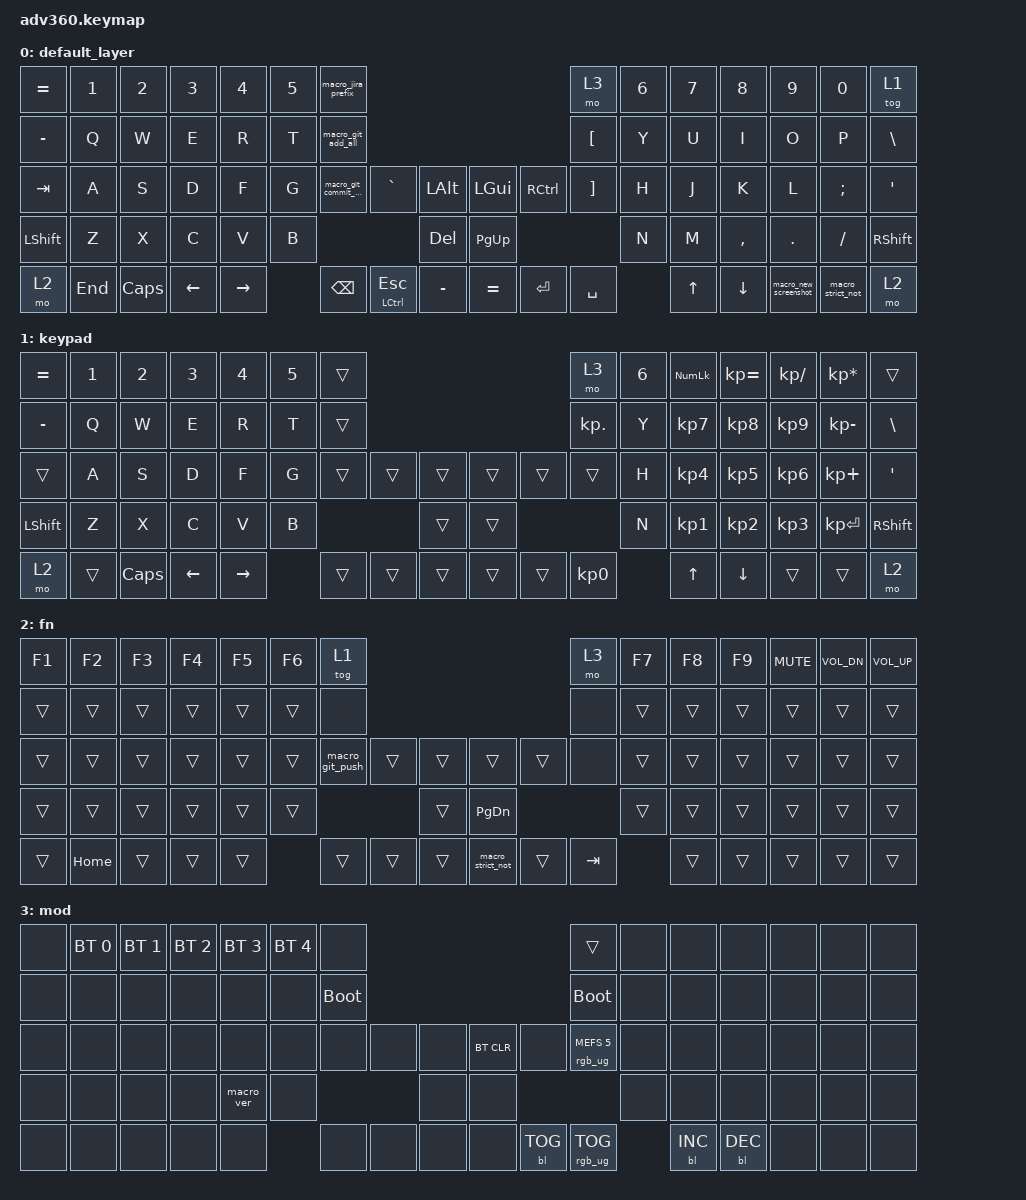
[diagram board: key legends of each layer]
#include <behaviors.dtsi>
#include <dt-bindings/zmk/backlight.h>
#include <dt-bindings/zmk/bt.h>
#include <dt-bindings/zmk/keys.h>
#include <dt-bindings/zmk/rgb.h>

/ {
    behaviors {
        #include "macros.dtsi"
        #include "version.dtsi"

        #ifndef VERSION_MACRO

        macro_ver: macro_ver {
            compatible = "zmk,behavior-macro";
            #binding-cells = <0>;
            bindings = <&kp RET>;
            label = "macro_version";
        };

        #endif

        macro_git_add_all: git_add_all {
            compatible = "zmk,behavior-macro";
            #binding-cells = <0>;
            bindings =
                <&macro_tap>,
                <&kp G &kp I &kp T &kp SPACE &kp A &kp D &kp D &kp SPACE &kp MINUS &kp LS(A) &kp RETURN>;

            label = "GIT_ADD_ALL";
        };

        macro_git_commit_msg: git_commit_msg {
            compatible = "zmk,behavior-macro";
            #binding-cells = <0>;
            bindings =
                <&macro_tap>,
                <&kp G &kp I &kp T &kp SPACE &kp C &kp O &kp M &kp M &kp I &kp T &kp SPACE &kp MINUS &kp M &kp SPACE &kp SQT &kp SQT &kp LEFT_ARROW>;

            label = "GIT_COMMIT_MSG";
        };

        macro_new_screenshot: new_screenshot {
            compatible = "zmk,behavior-macro";
            #binding-cells = <0>;
            bindings =
                <&macro_press>,
                <&kp LGUI &kp LEFT_SHIFT>,
                <&macro_tap>,
                <&kp S>,
                <&macro_release>,
                <&kp LGUI &kp LEFT_SHIFT>;

            label = "NEW_SCREENSHOT";
        };

        macro_jira_prefix: imatmm {
            compatible = "zmk,behavior-macro";
            #binding-cells = <0>;
            bindings =
                <&macro_tap>,
                <&kp LS(M) &kp LS(O) &kp LS(O) &kp LS(N) &kp MINUS>;

            label = "IMATMM";
        };

        macro_strict_not: strict_not {
            compatible = "zmk,behavior-macro";
            #binding-cells = <0>;
            bindings = <&macro_tap>, <&kp EXCL &kp EQUAL &kp EQUAL>;

            label = "STRICT_NOT";
        };

        macro_git_push: git_push {
            compatible = "zmk,behavior-macro";
            #binding-cells = <0>;
            bindings =
                <&macro_tap>,
                <&kp G &kp I &kp T &kp SPACE &kp P &kp U &kp S &kp H>;

            label = "GIT_PUSH";
        };

        hm: homerow_mods {
            compatible = "zmk,behavior-hold-tap";
            label = "HOMEROW_MODS";
            #binding-cells = <2>;
            tapping-term-ms = <200>;
            quick_tap_ms = <175>;
            flavor = "hold-preferred";
            bindings = <&kp>, <&kp>;
        };
    };

    macros {
    };

    combos { compatible = "zmk,combos"; };

    keymap {
        compatible = "zmk,keymap";

        default_layer {
            bindings = <
&kp EQUAL  &kp N1   &kp N2    &kp N3    &kp N4     &kp N5  &macro_jira_prefix                                                             &mo 3              &kp N6  &kp N7  &kp N8     &kp N9                 &kp N0             &tog 1
&kp MINUS  &kp Q    &kp W     &kp E     &kp R      &kp T   &macro_git_add_all                                                             &kp LEFT_BRACKET   &kp Y   &kp U   &kp I      &kp O                  &kp P              &kp BSLH
&kp TAB    &kp A    &kp S     &kp D     &kp F      &kp G   &macro_git_commit_msg  &kp GRAVE      &kp LALT        &kp LEFT_GUI  &kp RCTRL  &kp RIGHT_BRACKET  &kp H   &kp J   &kp K      &kp L                  &kp SEMI           &kp SQT
&kp LSHFT  &kp Z    &kp X     &kp C     &kp V      &kp B                                         &kp DELETE      &kp PAGE_UP                                 &kp N   &kp M   &kp COMMA  &kp DOT                &kp FSLH           &kp RSHFT
&mo 2      &kp END  &kp CAPS  &kp LEFT  &kp RIGHT          &kp BSPC               &hm LCTRL ESC  &kp MINUS       &kp EQUAL     &kp ENTER  &kp SPACE                  &kp UP  &kp DOWN   &macro_new_screenshot  &macro_strict_not  &mo 2
            >;
        };

        keypad {
            bindings = <
&kp EQUAL  &kp N1  &kp N2    &kp N3    &kp N4     &kp N5  &trans                                      &mo 3            &kp N6  &kp KP_NUM  &kp KP_EQUAL  &kp KP_DIVIDE  &kp KP_MULTIPLY  &trans
&kp MINUS  &kp Q   &kp W     &kp E     &kp R      &kp T   &trans                                      &kp KP_DOT       &kp Y   &kp KP_N7   &kp KP_N8     &kp KP_N9      &kp KP_MINUS     &kp BSLH
&trans     &kp A   &kp S     &kp D     &kp F      &kp G   &trans  &trans  &trans      &trans  &trans  &trans           &kp H   &kp KP_N4   &kp KP_N5     &kp KP_N6      &kp KP_PLUS      &kp SQT
&kp LSHFT  &kp Z   &kp X     &kp C     &kp V      &kp B                   &trans      &trans                           &kp N   &kp KP_N1   &kp KP_N2     &kp KP_N3      &kp KP_ENTER     &kp RSHFT
&mo 2      &trans  &kp CAPS  &kp LEFT  &kp RIGHT          &trans  &trans  &trans      &trans  &trans  &kp KP_NUMBER_0          &kp UP      &kp DOWN      &trans         &trans           &mo 2
            >;
        };

        fn {
            bindings = <
&kp F1  &kp F2    &kp F3  &kp F4  &kp F5  &kp F6  &tog 1                                                          &mo 3    &kp F7  &kp F8  &kp F9  &kp C_MUTE  &kp C_VOL_DN  &kp C_VOL_UP
&trans  &trans    &trans  &trans  &trans  &trans  &none                                                           &none    &trans  &trans  &trans  &trans      &trans        &trans
&trans  &trans    &trans  &trans  &trans  &trans  &macro_git_push  &trans  &trans      &trans             &trans  &none    &trans  &trans  &trans  &trans      &trans        &trans
&trans  &trans    &trans  &trans  &trans  &trans                           &trans      &kp PAGE_DOWN                       &trans  &trans  &trans  &trans      &trans        &trans
&trans  &kp HOME  &trans  &trans  &trans          &trans           &trans  &trans      &macro_strict_not  &trans  &kp TAB          &trans  &trans  &trans      &trans        &trans
            >;
        };

        mod {
            bindings = <
&none  &bt BT_SEL 0  &bt BT_SEL 1  &bt BT_SEL 2  &bt BT_SEL 3  &bt BT_SEL 4  &none                                                  &trans                  &none  &none       &none       &none  &none  &none
&none  &none         &none         &none         &none         &none         &bootloader                                            &bootloader             &none  &none       &none       &none  &none  &none
&none  &none         &none         &none         &none         &none         &none        &none  &none      &bt BT_CLR  &none       &rgb_ug RGB_MEFS_CMD 5  &none  &none       &none       &none  &none  &none
&none  &none         &none         &none         &macro_ver    &none                             &none      &none                                           &none  &none       &none       &none  &none  &none
&none  &none         &none         &none         &none                       &none        &none  &none      &none       &bl BL_TOG  &rgb_ug RGB_TOG                &bl BL_INC  &bl BL_DEC  &none  &none  &none
            >;
        };
    };
};
